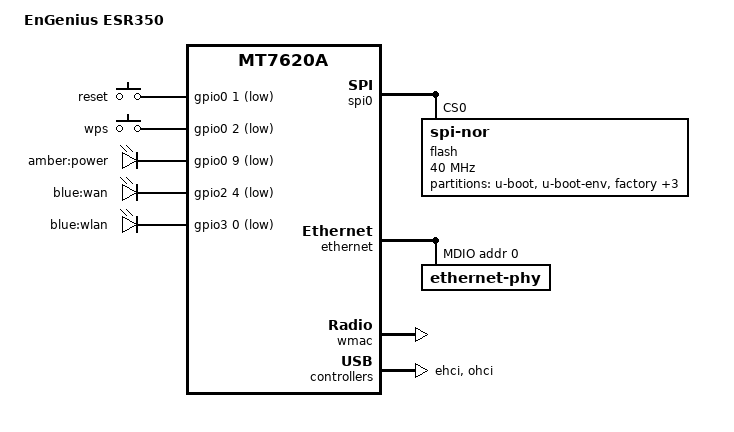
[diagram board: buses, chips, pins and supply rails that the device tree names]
// SPDX-License-Identifier: GPL-2.0-or-later OR MIT

#include "mt7620a.dtsi"

#include <dt-bindings/gpio/gpio.h>
#include <dt-bindings/input/input.h>

/ {
	compatible = "engenius,esr350", "ralink,mt7620a-soc";
	model = "EnGenius ESR350";

	aliases {
		led-boot = &led_power;
		led-failsafe = &led_power;
		led-running = &led_power;
		led-upgrade = &led_power;
	};

	chosen {
		bootargs = "console=ttyS0,115200 mem=64M";
	};

	keys {
		compatible = "gpio-keys";

		reset {
			linux,code = <KEY_RESTART>;
			gpios = <&gpio0 1 GPIO_ACTIVE_LOW>;
			debounce-interval = <60>;
		};

		wps {
			linux,code = <KEY_WPS_BUTTON>;
			gpios = <&gpio0 2 GPIO_ACTIVE_LOW>;
			debounce-interval = <60>;
		};
	};

	leds {
		compatible = "gpio-leds";

		led_power: power {
			label = "amber:power";
			gpios = <&gpio0 9 GPIO_ACTIVE_LOW>;
			default-state = "on";
		};

		wan {
			label = "blue:wan";
			gpios = <&gpio2 4 GPIO_ACTIVE_LOW>;
		};

		wlan {
			label = "blue:wlan";
			gpios = <&gpio3 0 GPIO_ACTIVE_LOW>;
			linux,default-trigger = "phy0tpt";
		};
	};
};

&gpio2 {
	status = "okay";
};

&gpio3 {
	status = "okay";
};

&spi0 {
	status = "okay";

	flash@0 {
		compatible = "jedec,spi-nor";
		reg = <0>;
		spi-max-frequency = <40000000>;

		partitions {
			compatible = "fixed-partitions";
			#address-cells = <1>;
			#size-cells = <1>;

			partition@0 {
				label = "u-boot";
				reg = <0x0 0x30000>;
				read-only;
			};

			partition@30000 {
				label = "u-boot-env";
				reg = <0x30000 0x10000>;
				read-only;
			};

			factory: partition@40000 {
				label = "factory";
				reg = <0x40000 0x10000>;
				read-only;
			};

			partition@50000 {
				label = "firmware";
				reg = <0x50000 0xf50000>;
				compatible = "denx,uimage";
			};

			partition@fa0000 {
				label = "backup";
				reg = <0xfa0000 0x10000>;
				read-only;
			};

			partition@fb0000 {
				label = "storage";
				reg = <0xfb0000 0x50000>;
				read-only;
			};
		};
	};
};

&ethernet {
	pinctrl-names = "default";
	pinctrl-0 = <&mdio_pins &rgmii1_pins &rgmii2_pins>;

	mtd-mac-address = <&factory 0x4>;

	port@5 {
		status = "okay";

		phy-mode = "rgmii-txid";

		mediatek,fixed-link = <1000 1 1 1>;
	};

	mdio-bus {
		status = "okay";

		mediatek,mdio-mode;

		ethernet-phy@0 {
			reg = <0>;
			phy-mode = "rgmii";

			qca,ar8327-initvals = <
				0x04 0x07600000 /* PORT0 PAD MODE CTRL */
				0x0c 0x05600000 /* PORT6 PAD MODE CTRL */
				0x10 0x40000000 /* POWER-ON STRAPPING  */
				0x7c 0x0000007e /* PORT0_STATUS */
				0x94 0x0000007e /* PORT6_STATUS */
			>;
		};
	};
};

&gsw {
	mediatek,port4-gmac;
};

&wmac {
	ralink,mtd-eeprom = <&factory 0x0>;
};

&ehci {
	status = "okay";
};

&ohci {
	status = "okay";
};

&state_default {
	default {
		groups = "ephy", "wled", "spi refclk", "i2c", "uartf", "nd_sd";
		function = "gpio";
	};
};
